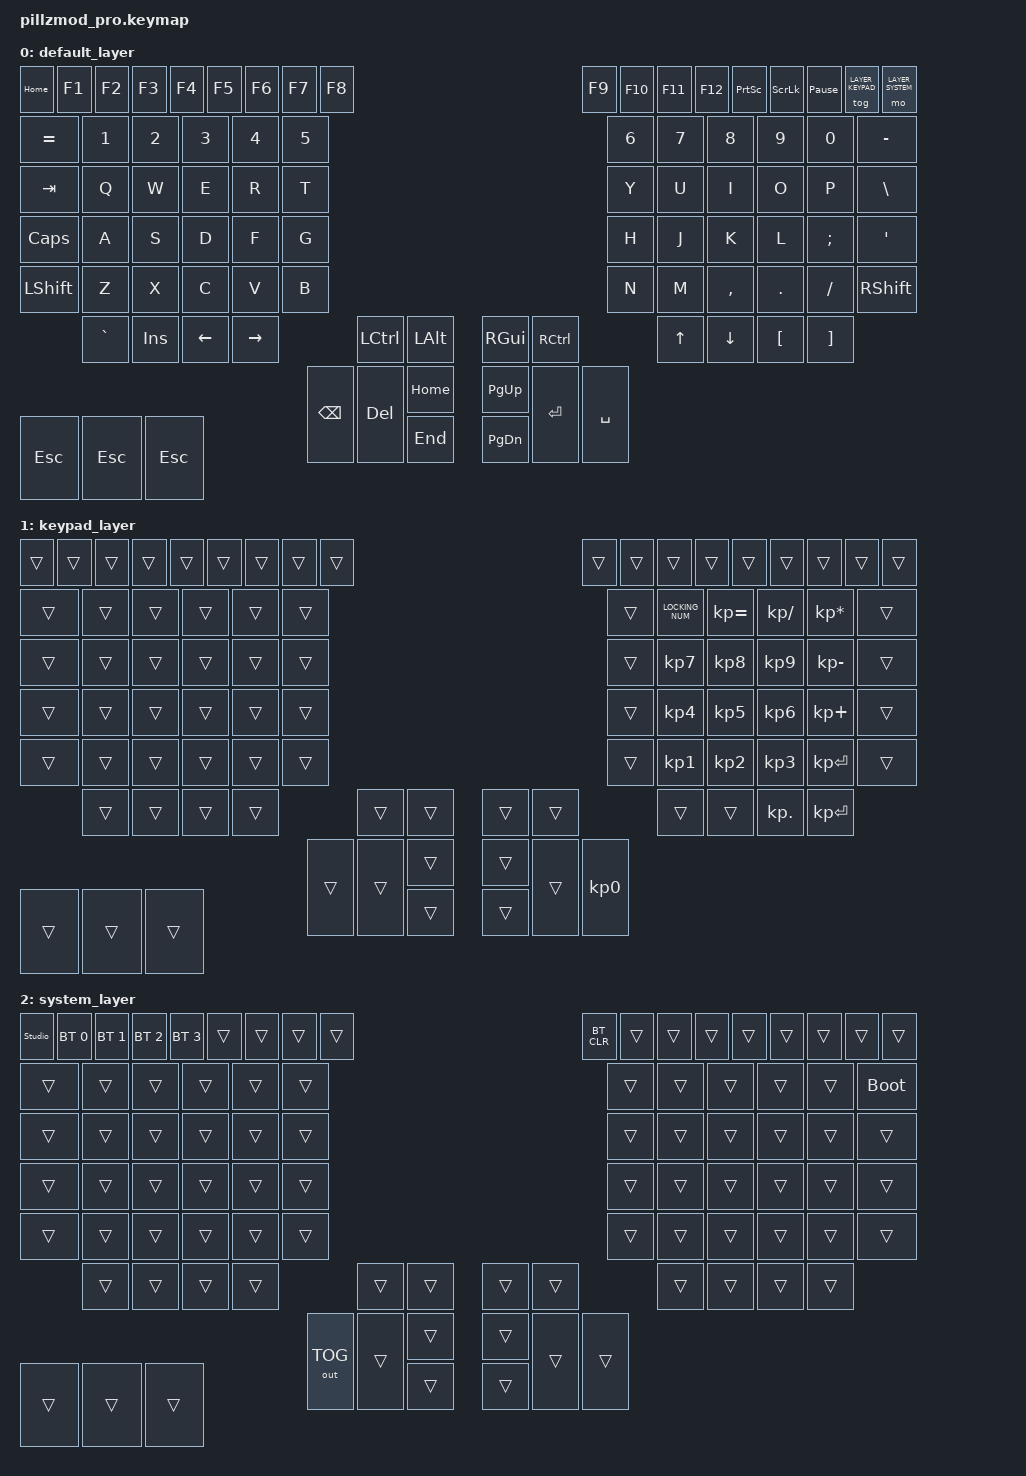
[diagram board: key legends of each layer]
/*
 * Copyright (c) 2020 The ZMK Contributors
 * 
 * SPDX-License-Identifier: MIT
 * 
 * ZMK keymap for Kinesis Advantage keyboards using Pillz Mod + Nice!Nano
 * Compatible with KLCM (Keyboard Layout Config Mapper)
 * 
 * This file serves as the KLCM configuration template. The actual ZMK shield 
 * keymap is located in boards/shields/pillzmod-nicenano/pillzmod-nicenano.keymap
 * 
 * Repository: https://github.com/masters3d/zmk-config-pillzmod-nicenano
 */

#include <behaviors.dtsi>
#include <dt-bindings/zmk/keys.h>
#include <dt-bindings/zmk/bt.h>
#include <dt-bindings/zmk/outputs.h>

#define LAYER_KEYPAD 1
#define LAYER_SYSTEM 2

/ {
    behaviors {
        mo_key: behavior_mo_key {
            compatible = "zmk,behavior-hold-tap";
            label = "mo_key";
            #binding-cells = <2>;
            tapping-term-ms = <200>;
            quick_tap_ms = <175>;
            flavor = "tap-preferred";
            bindings = <&mo>, <&kp>;
        };

        hm: homerow_mods {
            compatible = "zmk,behavior-hold-tap";
            label = "HOMEROW_MODS";
            #binding-cells = <2>;
            tapping-term-ms = <200>;
            quick_tap_ms = <175>;
            flavor = "tap-preferred";
            bindings = <&kp>, <&kp>;
        };
    };

    keymap {
        compatible = "zmk,keymap";

        default_layer {
            // -----------------------------------------------------------------------------------------
            // |  HOME |  F1  |  F2  |  F3  |  F4  |  F5  |  F6  |  F7  |  F8  |     |  F9  |  F10 |  F11 |  F12 | PSCRN| SLCK | PAUSE| Layer| SYS  |
            // |   =   |  1   |  2   |  3   |  4   |  5   |                           |  6   |  7   |  8   |  9   |  0   |  -   |
            // |  TAB  |  Q   |  W   |  E   |  R   |  T   |                           |  Y   |  U   |  I   |  O   |  P   |  \   |
            // | CAPS  |  A   |  S   |  D   |  F   |  G   |                           |  H   |  J   |  K   |  L   |  ;   |  '   |
            // | SHIFT |  Z   |  X   |  C   |  V   |  B   |                           |  N   |  M   |  ,   |  .   |  /   | SHIFT|
            //         |  `   | INS  | LEFT |RIGHT |      |                           |      |  UP  | DOWN |  [   |  ]   |
            //                                    | CTRL | ALT  |               | GUI  | CTRL |
            //                                           | HOME |               | PGUP |
            //                              | BSPC | DEL | END  |               | PGDN | ENT  | SPC  |
            bindings = <
    &kp HOME   &kp F1    &kp F2    &kp F3    &kp F4    &kp F5    &kp F6    &kp F7    &kp F8         &kp F9    &kp F10   &kp F11   &kp F12   &kp PSCRN  &kp SLCK  &kp PAUSE_BREAK  &tog LAYER_KEYPAD  &mo LAYER_SYSTEM
    &kp EQUAL  &kp N1    &kp N2    &kp N3    &kp N4    &kp N5                                                                                    &kp N6    &kp N7    &kp N8    &kp N9    &kp N0    &kp MINUS
    &kp TAB    &kp Q     &kp W     &kp E     &kp R     &kp T                                                                                     &kp Y     &kp U     &kp I     &kp O     &kp P     &kp BSLH
    &kp CAPS   &kp A     &kp S     &kp D     &kp F     &kp G                                                                                     &kp H     &kp J     &kp K     &kp L     &kp SEMI  &kp SQT
    &kp LSHFT  &kp Z     &kp X     &kp C     &kp V     &kp B                                                                                     &kp N     &kp M     &kp COMMA &kp DOT   &kp SLASH &kp RSHFT
               &kp GRAVE &kp INSERT &kp LEFT &kp RIGHT                                                                                                     &kp UP    &kp DOWN  &kp LBKT  &kp RBKT
                                                      &kp LCTRL  &kp LALT                                               &kp RGUI  &kp RCTRL
                                                                 &kp HOME                                               &kp PG_UP
                                        &kp BSPC   &kp DELETE  &kp END                                                &kp PG_DN  &kp ENTER &kp SPACE
    &kp ESCAPE  &kp ESCAPE  &kp ESCAPE
            >;
        };
        
        keypad_layer {
            // -----------------------------------------------------------------------------------------
            // Keypad/Numpad layer
            bindings = <
    &trans  &trans  &trans  &trans  &trans  &trans  &trans  &trans  &trans                          &trans  &trans  &trans  &trans  &trans  &trans  &trans  &trans  &trans
    &trans  &trans  &trans  &trans  &trans  &trans                                                                   &trans  &kp LOCKING_NUM   &kp KP_EQUAL  &kp KP_SLASH  &kp KP_ASTERISK  &trans
    &trans  &trans  &trans  &trans  &trans  &trans                                                                   &trans  &kp KP_N7    &kp KP_N8    &kp KP_N9    &kp KP_MINUS  &trans
    &trans  &trans  &trans  &trans  &trans  &trans                                                                   &trans  &kp KP_N4    &kp KP_N5    &kp KP_N6    &kp KP_PLUS   &trans
    &trans  &trans  &trans  &trans  &trans  &trans                                                                   &trans  &kp KP_N1    &kp KP_N2    &kp KP_N3    &kp KP_ENTER  &trans
            &trans  &trans  &trans  &trans                                                                                   &trans  &trans  &kp KP_DOT  &kp KP_ENTER
                                                  &trans  &trans                                        &trans  &trans
                                                          &trans                                        &trans
                                          &trans  &trans  &trans                                        &trans  &trans  &kp KP_N0
    &trans  &trans  &trans
            >;
        };

        system_layer {
            // -----------------------------------------------------------------------------------------
            // System layer: Bluetooth, output selection, bootloader
            bindings = <
    &studio_unlock  &bt BT_SEL 0  &bt BT_SEL 1  &bt BT_SEL 2  &bt BT_SEL 3  &trans  &trans  &trans  &trans       &bt BT_CLR  &trans  &trans  &trans  &trans  &trans  &trans  &trans  &trans
    &trans  &trans  &trans  &trans  &trans  &trans                                                                   &trans  &trans  &trans  &trans  &trans  &bootloader
    &trans  &trans  &trans  &trans  &trans  &trans                                                                   &trans  &trans  &trans  &trans  &trans  &trans
    &trans  &trans  &trans  &trans  &trans  &trans                                                                   &trans  &trans  &trans  &trans  &trans  &trans
    &trans  &trans  &trans  &trans  &trans  &trans                                                                   &trans  &trans  &trans  &trans  &trans  &trans
            &trans  &trans  &trans  &trans                                                                                   &trans  &trans  &trans  &trans
                                                  &trans  &trans                                        &trans  &trans
                                                          &trans                                        &trans
                                      &out OUT_TOG  &trans  &trans                                        &trans  &trans  &trans
    &trans  &trans  &trans
            >;
        };

    };
};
